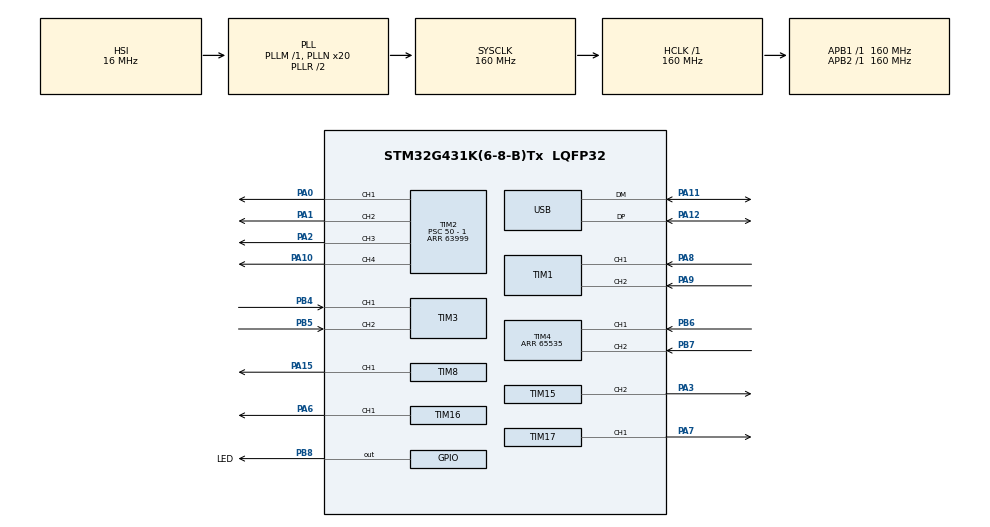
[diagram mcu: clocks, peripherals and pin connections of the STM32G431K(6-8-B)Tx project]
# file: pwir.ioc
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Mcu.Family=STM32G4
Mcu.Name=STM32G431K(6-8-B)Tx
Mcu.Package=LQFP32
NVIC.PriorityGroup=NVIC_PRIORITYGROUP_4
NVIC.TIM6_DAC_IRQn=true\:0\:0\:false\:false\:true\:true\:true
NVIC.USB_LP_IRQn=true\:0\:0\:false\:false\:true\:false\:true
PA0.Signal=S_TIM2_CH1
PA1.Signal=S_TIM2_CH2
PA10.Signal=S_TIM2_CH4
PA11.Mode=Device
PA11.Signal=USB_DM
PA12.Mode=Device
PA12.Signal=USB_DP
PA13.Mode=Serial_Wire
PA13.Signal=SYS_JTMS-SWDIO
PA14.Mode=Serial_Wire
PA14.Signal=SYS_JTCK-SWCLK
PA15.Signal=S_TIM8_CH1
PA2.Signal=S_TIM2_CH3
PA3.Signal=S_TIM15_CH2
PA6.Signal=S_TIM16_CH1
PA7.Signal=S_TIM17_CH1
PA8.Signal=S_TIM1_CH1
PA9.Signal=S_TIM1_CH2
PB4.Signal=S_TIM3_CH1
PB5.Signal=S_TIM3_CH2
PB6.Signal=S_TIM4_CH1
PB7.Signal=S_TIM4_CH2
PB8-BOOT0.GPIO_Label=LED
PB8-BOOT0.Signal=GPIO_Output
ProjectManager.HeapSize=0x200
ProjectManager.StackSize=0x400
ProjectManager.TargetToolchain=STM32CubeIDE
RCC.ADC12Freq_Value=160000000
RCC.AHBFreq_Value=160000000
RCC.APB1Freq_Value=160000000
RCC.APB1TimFreq_Value=160000000
RCC.APB2Freq_Value=160000000
RCC.APB2TimFreq_Value=160000000
RCC.CK48CLockSelection=RCC_USBCLKSOURCE_HSI48
RCC.CortexFreq_Value=160000000
RCC.EXTERNAL_CLOCK_VALUE=12288000
RCC.HCLKFreq_Value=160000000
RCC.HSE_VALUE=8000000
RCC.HSI48_VALUE=48000000
RCC.HSI_VALUE=16000000
RCC.LSE_VALUE=32768
RCC.PLLN=20
RCC.PLLQ=RCC_PLLQ_DIV4
RCC.SYSCLKFreq_VALUE=160000000
RCC.SYSCLKSource=RCC_SYSCLKSOURCE_PLLCLK
RCC.USBFreq_Value=48000000
RCC.VCOOutputFreq_Value=320000000
SH.S_TIM15_CH2.0=TIM15_CH2,PWM Generation2 CH2
SH.S_TIM16_CH1.0=TIM16_CH1,PWM Generation1 CH1
SH.S_TIM17_CH1.0=TIM17_CH1,PWM Generation1 CH1
SH.S_TIM1_CH1.0=TIM1_CH1,Encoder_Interface
SH.S_TIM1_CH2.0=TIM1_CH2,Encoder_Interface
SH.S_TIM2_CH1.0=TIM2_CH1,PWM Generation1 CH1
SH.S_TIM2_CH2.0=TIM2_CH2,PWM Generation2 CH2
SH.S_TIM2_CH3.0=TIM2_CH3,PWM Generation3 CH3
SH.S_TIM2_CH4.0=TIM2_CH4,PWM Generation4 CH4
SH.S_TIM3_CH1.0=TIM3_CH1,Encoder_Interface
SH.S_TIM3_CH2.0=TIM3_CH2,Encoder_Interface
SH.S_TIM4_CH1.0=TIM4_CH1,Encoder_Interface
SH.S_TIM4_CH2.0=TIM4_CH2,Encoder_Interface
SH.S_TIM8_CH1.0=TIM8_CH1,PWM Generation1 CH1
TIM15.Channel-PWM\ Generation2\ CH2=TIM_CHANNEL_2
TIM15.PeriodNoDither=63999
TIM15.Prescaler=50 - 1
TIM16.Channel=TIM_CHANNEL_1
TIM16.PeriodNoDither=63999
TIM16.Prescaler=50 - 1
TIM17.Channel=TIM_CHANNEL_1
TIM17.PeriodNoDither=63999
TIM17.Prescaler=50 - 1
TIM2.Channel-PWM\ Generation1\ CH1=TIM_CHANNEL_1
TIM2.Channel-PWM\ Generation2\ CH2=TIM_CHANNEL_2
TIM2.Channel-PWM\ Generation3\ CH3=TIM_CHANNEL_3
TIM2.Channel-PWM\ Generation4\ CH4=TIM_CHANNEL_4
TIM2.PeriodNoDither=63999
TIM2.Prescaler=50 - 1
TIM4.PeriodNoDither=65535
TIM6.PeriodNoDither=64000 -1
TIM6.Prescaler=25 - 1
TIM8.Channel-PWM\ Generation1\ CH1=TIM_CHANNEL_1
TIM8.PeriodNoDither=63999
TIM8.Prescaler=50 - 1
USB.Sof_enable=DISABLE
USB_DEVICE.CLASS_NAME_FS=CDC
USB_DEVICE.VirtualMode=Cdc
USB_DEVICE.VirtualModeFS=Cdc_FS
VP_SYS_VS_DBSignals.Mode=DisableDeadBatterySignals
VP_TIM16_VS_ClockSourceINT.Mode=Enable_Timer
VP_TIM17_VS_ClockSourceINT.Mode=Enable_Timer
VP_TIM6_VS_ClockSourceINT.Mode=Enable_Timer
VP_USB_DEVICE_VS_USB_DEVICE_CDC_FS.Mode=CDC_FS
board=custom

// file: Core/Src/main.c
/* USER CODE BEGIN Header */
/**
  ******************************************************************************
  * @file           : main.c
  * @brief          : Main program body
  ******************************************************************************
  * @attention
  *
  * <h2><center>&copy; Copyright (c) 2020 STMicroelectronics.
  * All rights reserved.</center></h2>
  *
  * This software component is licensed by ST under BSD 3-Clause license,
  * the "License"; You may not use this file except in compliance with the
  * License. You may obtain a copy of the License at:
  *                        opensource.org/licenses/BSD-3-Clause
  *
  ******************************************************************************
  */
/* USER CODE END Header */
#include "main.h"
#include "usb_device.h"

TIM_HandleTypeDef htim1;
TIM_HandleTypeDef htim2;
TIM_HandleTypeDef htim3;
TIM_HandleTypeDef htim4;
TIM_HandleTypeDef htim6;
TIM_HandleTypeDef htim8;
TIM_HandleTypeDef htim15;
TIM_HandleTypeDef htim16;
TIM_HandleTypeDef htim17;

void SystemClock_Config(void);
static void MX_GPIO_Init(void);
static void MX_TIM1_Init(void);
static void MX_TIM2_Init(void);
static void MX_TIM3_Init(void);
static void MX_TIM4_Init(void);
static void MX_TIM8_Init(void);
static void MX_TIM16_Init(void);
static void MX_TIM17_Init(void);
static void MX_TIM15_Init(void);
static void MX_TIM6_Init(void);

/* USER CODE BEGIN 0 */
typedef struct Motor {
	int16_t setpoint; // short ; signed ; -32,768 .. 32,767
	int32_t speed; // int ; signed ; -2,147,483,648 .. 2,147,483,647
	int16_t pGain;
	int16_t iGain;
	int16_t dGain;
	int16_t position;
	int16_t positionPrev;
	int16_t positionChange;
	int16_t error; // PID error
	int32_t sumOfErrors; // PID sum of errors
} Motor;

Motor motor1 = {
	.setpoint = 0,
	.speed = 0,
	.pGain = 1000,
	.iGain = 10,
	.dGain = 10,
	.position = 0,
	.positionPrev = 0,
	.positionChange = 0,
	.error = 0,
	.sumOfErrors = 0
};

Motor motor2 = {
	.setpoint = 0,
	.speed = 0,
	.pGain = 1000,
	.iGain = 10,
	.dGain = 10,
	.position = 0,
	.positionPrev = 0,
	.positionChange = 0,
	.error = 0,
	.sumOfErrors = 0
};

Motor motor3 = {
	.setpoint = 0,
	.speed = 0,
	.pGain = 1000,
	.iGain = 10,
	.dGain = 10,
	.position = 0,
	.positionPrev = 0,
	.positionChange = 0,
	.error = 0,
	.sumOfErrors = 0
};

typedef struct Command { // (1) Define struct for received data.
  int16_t speed1;
  int16_t speed2;
  int16_t speed3;
  uint16_t throwerSpeed;
  uint16_t throwerAngle;
  uint16_t delimiter; // (2) Delimiter is used as a separator between packets of data. Preferably something that will never appear in the data should be used.
} Command;

typedef struct Feedback { // (3) Define struct for sending data. This can be omitted if there is no need for data from mainboard.
  int32_t speed1;
  int32_t speed2;
  int32_t speed3;
  int16_t positionChange1;
  int16_t positionChange2;
  int16_t positionChange3;
  int16_t encoder1;
  int16_t encoder2;
  int16_t encoder3;
  int32_t sumOfErrors1;
  int32_t sumOfErrors2;
  int32_t sumOfErrors3;
  uint16_t delimiter;
} Feedback;

Command command = {
  .speed1 = 0,
  .speed2 = 0,
  .speed3 = 0,
  .throwerSpeed = 0,
  .throwerAngle = 0,
  .delimiter = 0
}; // (4) Instance of received data.

volatile uint8_t isCommandReceived = 0; // (5) Boolean (0/1) variable to signify that data has been received. Variable is marked volatile to prevent the compiler from removing it during optimisation.

void CDC_On_Receive(uint8_t* buffer, uint32_t* length) { // (6) Define the function that is called when data is received. It is usually preferable to keep interrupt handlers small and fast to avoid blocking other code from executing. Only data copying and setting isCommandReceived to 1 is done in the handler. Rest is handled in the main while loop.
  //HAL_GPIO_TogglePin(LED_GPIO_Port, LED_Pin);
  if (*length == sizeof(Command)) { // (7) Check if received data the has same length as Command struct.
    memcpy(&command, buffer, sizeof(Command)); // (8) Copy received data to command instance.

    if (command.delimiter == 0xAAAA) { // (9) Check the delimiter as a validation of received data.
      isCommandReceived = 1;
    }
  }
}
/* USER CODE END 0 */

int main(void)
{
  /* USER CODE BEGIN 1 */
  // (1) Define an instance of Feedback for sending data.
  Feedback feedback = {
    .speed1 = 0,
	.encoder1 = 0,
	.positionChange1 = 0,
	.speed2 = 0,
	.encoder2 = 0,
	.positionChange2 = 0,
	.speed3 = 0,
	.encoder3 = 0,
	.positionChange3 = 0,
	.delimiter = 0xAAAA
  };
  /* USER CODE END 1 */

  /* MCU Configuration--------------------------------------------------------*/

  /* Reset of all peripherals, Initializes the Flash interface and the Systick. */
  HAL_Init();

  /* Configure the system clock */
  SystemClock_Config();

  /* Initialize all configured peripherals */
  MX_GPIO_Init();
  MX_TIM1_Init();
  MX_TIM2_Init();
  MX_TIM3_Init();
  MX_TIM4_Init();
  MX_TIM8_Init();
  MX_TIM16_Init();
  MX_TIM17_Init();
  MX_USB_Device_Init();
  MX_TIM15_Init();
  MX_TIM6_Init();
  /* USER CODE BEGIN 2 */
  HAL_TIM_Encoder_Start(&htim1, TIM_CHANNEL_1 | TIM_CHANNEL_2); // Encoder 1
  HAL_TIM_Encoder_Start(&htim3, TIM_CHANNEL_1 | TIM_CHANNEL_2); // Encoder 2
  HAL_TIM_Encoder_Start(&htim4, TIM_CHANNEL_1 | TIM_CHANNEL_2); // Encoder 3
  HAL_TIM_PWM_Start(&htim2, TIM_CHANNEL_1); // Motor PWM for draiver 1
  HAL_TIM_PWM_Start(&htim2, TIM_CHANNEL_2); // Motor PWM for draiver 1
  HAL_TIM_PWM_Start(&htim2, TIM_CHANNEL_3); // Motor PWM for draiver 2
  HAL_TIM_PWM_Start(&htim2, TIM_CHANNEL_4); // Motor PWM for draiver 2
  HAL_TIM_PWM_Start(&htim16, TIM_CHANNEL_1); // Motor PWM for draiver 3
  HAL_TIM_PWM_Start(&htim17, TIM_CHANNEL_1); // Motor PWM for draiver 3
  HAL_TIM_PWM_Start(&htim8, TIM_CHANNEL_1); // Thrower PWM
  HAL_TIM_PWM_Start(&htim15, TIM_CHANNEL_2); // Thrower Angle PWM
  HAL_TIM_Base_Start_IT(&htim6);
  /* USER CODE END 2 */

  /* Infinite loop */
  while (1)
  {

    /* USER CODE BEGIN 3 */
	  //HAL_Delay(1000);
	if (isCommandReceived) { // (2) Only return data when something has been received.
		isCommandReceived = 0;
		HAL_GPIO_TogglePin(LED_GPIO_Port, LED_Pin); // (3) Toggle LED to indicate that data has been received.

		motor1.setpoint = command.speed1;
		motor2.setpoint = command.speed2;
		motor3.setpoint = command.speed3;

		// (4) Update feedback with current motor speeds.
		feedback.speed1 = motor1.speed;
		feedback.speed2 = motor2.speed;
		feedback.speed3 = motor3.speed;
		feedback.positionChange1 = motor1.positionChange;
		feedback.positionChange2 = motor2.positionChange;
		feedback.positionChange3 = motor3.positionChange;
		feedback.encoder1 = (int16_t)TIM1->CNT;
		feedback.encoder2 = (int16_t)TIM3->CNT;
		feedback.encoder3 = (int16_t)TIM4->CNT;
		feedback.sumOfErrors1 = motor1.sumOfErrors;
		feedback.sumOfErrors2 = motor2.sumOfErrors;
		feedback.sumOfErrors3 = motor3.sumOfErrors;

		// Start thrower ESC at lower than 3200
		// Then set speed to 3200 ... 6400
		TIM8->CCR1 = command.throwerSpeed; // thrower

		// Thrower angle overflow check (2700 min 6900 max)
		if (command.throwerAngle > 6900) {
			TIM15->CCR2 = 6900;
		}
		else if (command.throwerAngle < 2700) {
			TIM15->CCR2 = 2700;
		}
		else {
			TIM15->CCR2 = command.throwerAngle;
		}

		CDC_Transmit_FS(&feedback, sizeof(feedback)); // (5) Send data over USB.
		//HAL_Delay(1000);
	}
  }
  /* USER CODE END 3 */
}

void SystemClock_Config(void)
{
  RCC_OscInitTypeDef RCC_OscInitStruct = {0};
  RCC_ClkInitTypeDef RCC_ClkInitStruct = {0};
  RCC_PeriphCLKInitTypeDef PeriphClkInit = {0};

  /** Configure the main internal regulator output voltage
  */
  HAL_PWREx_ControlVoltageScaling(PWR_REGULATOR_VOLTAGE_SCALE1_BOOST);
  /** Initializes the RCC Oscillators according to the specified parameters
  * in the RCC_OscInitTypeDef structure.
  */
  RCC_OscInitStruct.OscillatorType = RCC_OSCILLATORTYPE_HSI|RCC_OSCILLATORTYPE_HSI48;
  RCC_OscInitStruct.HSIState = RCC_HSI_ON;
  RCC_OscInitStruct.HSICalibrationValue = RCC_HSICALIBRATION_DEFAULT;
  RCC_OscInitStruct.HSI48State = RCC_HSI48_ON;
  RCC_OscInitStruct.PLL.PLLState = RCC_PLL_ON;
  RCC_OscInitStruct.PLL.PLLSource = RCC_PLLSOURCE_HSI;
  RCC_OscInitStruct.PLL.PLLM = RCC_PLLM_DIV1;
  RCC_OscInitStruct.PLL.PLLN = 20;
  RCC_OscInitStruct.PLL.PLLP = RCC_PLLP_DIV2;
  RCC_OscInitStruct.PLL.PLLQ = RCC_PLLQ_DIV4;
  RCC_OscInitStruct.PLL.PLLR = RCC_PLLR_DIV2;
  if (HAL_RCC_OscConfig(&RCC_OscInitStruct) != HAL_OK)
  {
    Error_Handler();
  }
  /** Initializes the CPU, AHB and APB buses clocks
  */
  RCC_ClkInitStruct.ClockType = RCC_CLOCKTYPE_HCLK|RCC_CLOCKTYPE_SYSCLK
                              |RCC_CLOCKTYPE_PCLK1|RCC_CLOCKTYPE_PCLK2;
  RCC_ClkInitStruct.SYSCLKSource = RCC_SYSCLKSOURCE_PLLCLK;
  RCC_ClkInitStruct.AHBCLKDivider = RCC_SYSCLK_DIV1;
  RCC_ClkInitStruct.APB1CLKDivider = RCC_HCLK_DIV1;
  RCC_ClkInitStruct.APB2CLKDivider = RCC_HCLK_DIV1;

  if (HAL_RCC_ClockConfig(&RCC_ClkInitStruct, FLASH_LATENCY_4) != HAL_OK)
  {
    Error_Handler();
  }
  /** Initializes the peripherals clocks
  */
  PeriphClkInit.PeriphClockSelection = RCC_PERIPHCLK_USB;
  PeriphClkInit.UsbClockSelection = RCC_USBCLKSOURCE_HSI48;
  if (HAL_RCCEx_PeriphCLKConfig(&PeriphClkInit) != HAL_OK)
  {
    Error_Handler();
  }
}

static void MX_TIM1_Init(void)
{

  TIM_Encoder_InitTypeDef sConfig = {0};
  TIM_MasterConfigTypeDef sMasterConfig = {0};
  TIM_BreakDeadTimeConfigTypeDef sBreakDeadTimeConfig = {0};

  htim1.Instance = TIM1;
  htim1.Init.Prescaler = 0;
  htim1.Init.CounterMode = TIM_COUNTERMODE_UP;
  htim1.Init.Period = 65535;
  htim1.Init.ClockDivision = TIM_CLOCKDIVISION_DIV1;
  htim1.Init.RepetitionCounter = 0;
  htim1.Init.AutoReloadPreload = TIM_AUTORELOAD_PRELOAD_DISABLE;
  sConfig.EncoderMode = TIM_ENCODERMODE_TI1;
  sConfig.IC1Polarity = TIM_ICPOLARITY_RISING;
  sConfig.IC1Selection = TIM_ICSELECTION_DIRECTTI;
  sConfig.IC1Prescaler = TIM_ICPSC_DIV1;
  sConfig.IC1Filter = 0;
  sConfig.IC2Polarity = TIM_ICPOLARITY_RISING;
  sConfig.IC2Selection = TIM_ICSELECTION_DIRECTTI;
  sConfig.IC2Prescaler = TIM_ICPSC_DIV1;
  sConfig.IC2Filter = 0;
  if (HAL_TIM_Encoder_Init(&htim1, &sConfig) != HAL_OK)
  {
    Error_Handler();
  }
  sMasterConfig.MasterOutputTrigger = TIM_TRGO_RESET;
  sMasterConfig.MasterOutputTrigger2 = TIM_TRGO2_RESET;
  sMasterConfig.MasterSlaveMode = TIM_MASTERSLAVEMODE_DISABLE;
  if (HAL_TIMEx_MasterConfigSynchronization(&htim1, &sMasterConfig) != HAL_OK)
  {
    Error_Handler();
  }
  sBreakDeadTimeConfig.BreakAFMode = TIM_BREAK_AFMODE_INPUT;
  sBreakDeadTimeConfig.Break2AFMode = TIM_BREAK_AFMODE_INPUT;
  if (HAL_TIMEx_ConfigBreakDeadTime(&htim1, &sBreakDeadTimeConfig) != HAL_OK)
  {
    Error_Handler();
  }

}

static void MX_TIM2_Init(void)
{

  TIM_MasterConfigTypeDef sMasterConfig = {0};
  TIM_OC_InitTypeDef sConfigOC = {0};

  htim2.Instance = TIM2;
  htim2.Init.Prescaler = 50 - 1;
  htim2.Init.CounterMode = TIM_COUNTERMODE_UP;
  htim2.Init.Period = 63999;
  htim2.Init.ClockDivision = TIM_CLOCKDIVISION_DIV1;
  htim2.Init.AutoReloadPreload = TIM_AUTORELOAD_PRELOAD_DISABLE;
  if (HAL_TIM_PWM_Init(&htim2) != HAL_OK)
  {
    Error_Handler();
  }
  sMasterConfig.MasterOutputTrigger = TIM_TRGO_RESET;
  sMasterConfig.MasterSlaveMode = TIM_MASTERSLAVEMODE_DISABLE;
  if (HAL_TIMEx_MasterConfigSynchronization(&htim2, &sMasterConfig) != HAL_OK)
  {
    Error_Handler();
  }
  sConfigOC.OCMode = TIM_OCMODE_PWM1;
  sConfigOC.Pulse = 0;
  sConfigOC.OCPolarity = TIM_OCPOLARITY_HIGH;
  sConfigOC.OCFastMode = TIM_OCFAST_DISABLE;
  if (HAL_TIM_PWM_ConfigChannel(&htim2, &sConfigOC, TIM_CHANNEL_1) != HAL_OK)
  {
    Error_Handler();
  }
  sConfigOC.Pulse = 0;
  if (HAL_TIM_PWM_ConfigChannel(&htim2, &sConfigOC, TIM_CHANNEL_2) != HAL_OK)
  {
    Error_Handler();
  }
  sConfigOC.Pulse = 0;
  if (HAL_TIM_PWM_ConfigChannel(&htim2, &sConfigOC, TIM_CHANNEL_3) != HAL_OK)
  {
    Error_Handler();
  }
  sConfigOC.Pulse = 0;
  if (HAL_TIM_PWM_ConfigChannel(&htim2, &sConfigOC, TIM_CHANNEL_4) != HAL_OK)
  {
    Error_Handler();
  }
  HAL_TIM_MspPostInit(&htim2);

}

static void MX_TIM3_Init(void)
{

  TIM_Encoder_InitTypeDef sConfig = {0};
  TIM_MasterConfigTypeDef sMasterConfig = {0};

  htim3.Instance = TIM3;
  htim3.Init.Prescaler = 0;
  htim3.Init.CounterMode = TIM_COUNTERMODE_UP;
  htim3.Init.Period = 65535;
  htim3.Init.ClockDivision = TIM_CLOCKDIVISION_DIV1;
  htim3.Init.AutoReloadPreload = TIM_AUTORELOAD_PRELOAD_DISABLE;
  sConfig.EncoderMode = TIM_ENCODERMODE_TI1;
  sConfig.IC1Polarity = TIM_ICPOLARITY_RISING;
  sConfig.IC1Selection = TIM_ICSELECTION_DIRECTTI;
  sConfig.IC1Prescaler = TIM_ICPSC_DIV1;
  sConfig.IC1Filter = 0;
  sConfig.IC2Polarity = TIM_ICPOLARITY_RISING;
  sConfig.IC2Selection = TIM_ICSELECTION_DIRECTTI;
  sConfig.IC2Prescaler = TIM_ICPSC_DIV1;
  sConfig.IC2Filter = 0;
  if (HAL_TIM_Encoder_Init(&htim3, &sConfig) != HAL_OK)
  {
    Error_Handler();
  }
  sMasterConfig.MasterOutputTrigger = TIM_TRGO_RESET;
  sMasterConfig.MasterSlaveMode = TIM_MASTERSLAVEMODE_DISABLE;
  if (HAL_TIMEx_MasterConfigSynchronization(&htim3, &sMasterConfig) != HAL_OK)
  {
    Error_Handler();
  }

}

static void MX_TIM4_Init(void)
{

  TIM_Encoder_InitTypeDef sConfig = {0};
  TIM_MasterConfigTypeDef sMasterConfig = {0};

  htim4.Instance = TIM4;
  htim4.Init.Prescaler = 0;
  htim4.Init.CounterMode = TIM_COUNTERMODE_UP;
  htim4.Init.Period = 65535;
  htim4.Init.ClockDivision = TIM_CLOCKDIVISION_DIV1;
  htim4.Init.AutoReloadPreload = TIM_AUTORELOAD_PRELOAD_DISABLE;
  sConfig.EncoderMode = TIM_ENCODERMODE_TI1;
  sConfig.IC1Polarity = TIM_ICPOLARITY_RISING;
  sConfig.IC1Selection = TIM_ICSELECTION_DIRECTTI;
  sConfig.IC1Prescaler = TIM_ICPSC_DIV1;
  sConfig.IC1Filter = 0;
  sConfig.IC2Polarity = TIM_ICPOLARITY_RISING;
  sConfig.IC2Selection = TIM_ICSELECTION_DIRECTTI;
  sConfig.IC2Prescaler = TIM_ICPSC_DIV1;
  sConfig.IC2Filter = 0;
  if (HAL_TIM_Encoder_Init(&htim4, &sConfig) != HAL_OK)
  {
    Error_Handler();
  }
  sMasterConfig.MasterOutputTrigger = TIM_TRGO_RESET;
  sMasterConfig.MasterSlaveMode = TIM_MASTERSLAVEMODE_DISABLE;
  if (HAL_TIMEx_MasterConfigSynchronization(&htim4, &sMasterConfig) != HAL_OK)
  {
    Error_Handler();
  }

}

static void MX_TIM6_Init(void)
{

  TIM_MasterConfigTypeDef sMasterConfig = {0};

  htim6.Instance = TIM6;
  htim6.Init.Prescaler = 25 - 1;
  htim6.Init.CounterMode = TIM_COUNTERMODE_UP;
  htim6.Init.Period = 63999;
  htim6.Init.AutoReloadPreload = TIM_AUTORELOAD_PRELOAD_DISABLE;
  if (HAL_TIM_Base_Init(&htim6) != HAL_OK)
  {
    Error_Handler();
  }
  sMasterConfig.MasterOutputTrigger = TIM_TRGO_RESET;
  sMasterConfig.MasterSlaveMode = TIM_MASTERSLAVEMODE_DISABLE;
  if (HAL_TIMEx_MasterConfigSynchronization(&htim6, &sMasterConfig) != HAL_OK)
  {
    Error_Handler();
  }

}

static void MX_TIM8_Init(void)
{

  TIM_MasterConfigTypeDef sMasterConfig = {0};
  TIM_OC_InitTypeDef sConfigOC = {0};
  TIM_BreakDeadTimeConfigTypeDef sBreakDeadTimeConfig = {0};

  htim8.Instance = TIM8;
  htim8.Init.Prescaler = 50 - 1;
  htim8.Init.CounterMode = TIM_COUNTERMODE_UP;
  htim8.Init.Period = 63999;
  htim8.Init.ClockDivision = TIM_CLOCKDIVISION_DIV1;
  htim8.Init.RepetitionCounter = 0;
  htim8.Init.AutoReloadPreload = TIM_AUTORELOAD_PRELOAD_DISABLE;
  if (HAL_TIM_PWM_Init(&htim8) != HAL_OK)
  {
    Error_Handler();
  }
  sMasterConfig.MasterOutputTrigger = TIM_TRGO_RESET;
  sMasterConfig.MasterOutputTrigger2 = TIM_TRGO2_RESET;
  sMasterConfig.MasterSlaveMode = TIM_MASTERSLAVEMODE_DISABLE;
  if (HAL_TIMEx_MasterConfigSynchronization(&htim8, &sMasterConfig) != HAL_OK)
  {
    Error_Handler();
  }
  sConfigOC.OCMode = TIM_OCMODE_PWM1;
  sConfigOC.Pulse = 0;
  sConfigOC.OCPolarity = TIM_OCPOLARITY_HIGH;
  sConfigOC.OCNPolarity = TIM_OCNPOLARITY_HIGH;
  sConfigOC.OCFastMode = TIM_OCFAST_DISABLE;
  sConfigOC.OCIdleState = TIM_OCIDLESTATE_RESET;
  sConfigOC.OCNIdleState = TIM_OCNIDLESTATE_RESET;
  if (HAL_TIM_PWM_ConfigChannel(&htim8, &sConfigOC, TIM_CHANNEL_1) != HAL_OK)
  {
    Error_Handler();
  }
  sBreakDeadTimeConfig.OffStateRunMode = TIM_OSSR_DISABLE;
  sBreakDeadTimeConfig.OffStateIDLEMode = TIM_OSSI_DISABLE;
  sBreakDeadTimeConfig.LockLevel = TIM_LOCKLEVEL_OFF;
  sBreakDeadTimeConfig.DeadTime = 0;
  sBreakDeadTimeConfig.BreakState = TIM_BREAK_DISABLE;
  sBreakDeadTimeConfig.BreakPolarity = TIM_BREAKPOLARITY_HIGH;
  sBreakDeadTimeConfig.BreakFilter = 0;
  sBreakDeadTimeConfig.BreakAFMode = TIM_BREAK_AFMODE_INPUT;
  sBreakDeadTimeConfig.Break2State = TIM_BREAK2_DISABLE;
  sBreakDeadTimeConfig.Break2Polarity = TIM_BREAK2POLARITY_HIGH;
  sBreakDeadTimeConfig.Break2Filter = 0;
  sBreakDeadTimeConfig.Break2AFMode = TIM_BREAK_AFMODE_INPUT;
  sBreakDeadTimeConfig.AutomaticOutput = TIM_AUTOMATICOUTPUT_DISABLE;
  if (HAL_TIMEx_ConfigBreakDeadTime(&htim8, &sBreakDeadTimeConfig) != HAL_OK)
  {
    Error_Handler();
  }
  HAL_TIM_MspPostInit(&htim8);

}

static void MX_TIM15_Init(void)
{

  TIM_MasterConfigTypeDef sMasterConfig = {0};
  TIM_OC_InitTypeDef sConfigOC = {0};
  TIM_BreakDeadTimeConfigTypeDef sBreakDeadTimeConfig = {0};

  htim15.Instance = TIM15;
  htim15.Init.Prescaler = 50 - 1;
  htim15.Init.CounterMode = TIM_COUNTERMODE_UP;
  htim15.Init.Period = 63999;
  htim15.Init.ClockDivision = TIM_CLOCKDIVISION_DIV1;
  htim15.Init.RepetitionCounter = 0;
  htim15.Init.AutoReloadPreload = TIM_AUTORELOAD_PRELOAD_DISABLE;
  if (HAL_TIM_PWM_Init(&htim15) != HAL_OK)
  {
    Error_Handler();
  }
  sMasterConfig.MasterOutputTrigger = TIM_TRGO_RESET;
  sMasterConfig.MasterSlaveMode = TIM_MASTERSLAVEMODE_DISABLE;
  if (HAL_TIMEx_MasterConfigSynchronization(&htim15, &sMasterConfig) != HAL_OK)
  {
    Error_Handler();
  }
  sConfigOC.OCMode = TIM_OCMODE_PWM1;
  sConfigOC.Pulse = 0;
  sConfigOC.OCPolarity = TIM_OCPOLARITY_HIGH;
  sConfigOC.OCNPolarity = TIM_OCNPOLARITY_HIGH;
  sConfigOC.OCFastMode = TIM_OCFAST_DISABLE;
  sConfigOC.OCIdleState = TIM_OCIDLESTATE_RESET;
  sConfigOC.OCNIdleState = TIM_OCNIDLESTATE_RESET;
  if (HAL_TIM_PWM_ConfigChannel(&htim15, &sConfigOC, TIM_CHANNEL_2) != HAL_OK)
  {
    Error_Handler();
  }
  sBreakDeadTimeConfig.OffStateRunMode = TIM_OSSR_DISABLE;
  sBreakDeadTimeConfig.OffStateIDLEMode = TIM_OSSI_DISABLE;
  sBreakDeadTimeConfig.LockLevel = TIM_LOCKLEVEL_OFF;
  sBreakDeadTimeConfig.DeadTime = 0;
  sBreakDeadTimeConfig.BreakState = TIM_BREAK_DISABLE;
  sBreakDeadTimeConfig.BreakPolarity = TIM_BREAKPOLARITY_HIGH;
  sBreakDeadTimeConfig.BreakFilter = 0;
  sBreakDeadTimeConfig.AutomaticOutput = TIM_AUTOMATICOUTPUT_DISABLE;
  if (HAL_TIMEx_ConfigBreakDeadTime(&htim15, &sBreakDeadTimeConfig) != HAL_OK)
  {
    Error_Handler();
  }
  HAL_TIM_MspPostInit(&htim15);

}

static void MX_TIM16_Init(void)
{

  TIM_OC_InitTypeDef sConfigOC = {0};
  TIM_BreakDeadTimeConfigTypeDef sBreakDeadTimeConfig = {0};

  htim16.Instance = TIM16;
  htim16.Init.Prescaler = 50 - 1;
  htim16.Init.CounterMode = TIM_COUNTERMODE_UP;
  htim16.Init.Period = 63999;
  htim16.Init.ClockDivision = TIM_CLOCKDIVISION_DIV1;
  htim16.Init.RepetitionCounter = 0;
  htim16.Init.AutoReloadPreload = TIM_AUTORELOAD_PRELOAD_DISABLE;
  if (HAL_TIM_Base_Init(&htim16) != HAL_OK)
  {
    Error_Handler();
  }
  if (HAL_TIM_PWM_Init(&htim16) != HAL_OK)
  {
    Error_Handler();
  }
  sConfigOC.OCMode = TIM_OCMODE_PWM1;
  sConfigOC.Pulse = 0;
  sConfigOC.OCPolarity = TIM_OCPOLARITY_HIGH;
  sConfigOC.OCNPolarity = TIM_OCNPOLARITY_HIGH;
  sConfigOC.OCFastMode = TIM_OCFAST_DISABLE;
  sConfigOC.OCIdleState = TIM_OCIDLESTATE_RESET;
  sConfigOC.OCNIdleState = TIM_OCNIDLESTATE_RESET;
  if (HAL_TIM_PWM_ConfigChannel(&htim16, &sConfigOC, TIM_CHANNEL_1) != HAL_OK)
  {
    Error_Handler();
  }
  sBreakDeadTimeConfig.OffStateRunMode = TIM_OSSR_DISABLE;
  sBreakDeadTimeConfig.OffStateIDLEMode = TIM_OSSI_DISABLE;
  sBreakDeadTimeConfig.LockLevel = TIM_LOCKLEVEL_OFF;
  sBreakDeadTimeConfig.DeadTime = 0;
  sBreakDeadTimeConfig.BreakState = TIM_BREAK_DISABLE;
  sBreakDeadTimeConfig.BreakPolarity = TIM_BREAKPOLARITY_HIGH;
  sBreakDeadTimeConfig.BreakFilter = 0;
  sBreakDeadTimeConfig.AutomaticOutput = TIM_AUTOMATICOUTPUT_DISABLE;
  if (HAL_TIMEx_ConfigBreakDeadTime(&htim16, &sBreakDeadTimeConfig) != HAL_OK)
  {
    Error_Handler();
  }
  HAL_TIM_MspPostInit(&htim16);

}

static void MX_TIM17_Init(void)
{

  TIM_OC_InitTypeDef sConfigOC = {0};
  TIM_BreakDeadTimeConfigTypeDef sBreakDeadTimeConfig = {0};

  htim17.Instance = TIM17;
  htim17.Init.Prescaler = 50 - 1;
  htim17.Init.CounterMode = TIM_COUNTERMODE_UP;
  htim17.Init.Period = 63999;
  htim17.Init.ClockDivision = TIM_CLOCKDIVISION_DIV1;
  htim17.Init.RepetitionCounter = 0;
  htim17.Init.AutoReloadPreload = TIM_AUTORELOAD_PRELOAD_DISABLE;
  if (HAL_TIM_Base_Init(&htim17) != HAL_OK)
  {
    Error_Handler();
  }
  if (HAL_TIM_PWM_Init(&htim17) != HAL_OK)
  {
    Error_Handler();
  }
  sConfigOC.OCMode = TIM_OCMODE_PWM1;
  sConfigOC.Pulse = 0;
  sConfigOC.OCPolarity = TIM_OCPOLARITY_HIGH;
  sConfigOC.OCNPolarity = TIM_OCNPOLARITY_HIGH;
  sConfigOC.OCFastMode = TIM_OCFAST_DISABLE;
  sConfigOC.OCIdleState = TIM_OCIDLESTATE_RESET;
  sConfigOC.OCNIdleState = TIM_OCNIDLESTATE_RESET;
  if (HAL_TIM_PWM_ConfigChannel(&htim17, &sConfigOC, TIM_CHANNEL_1) != HAL_OK)
  {
    Error_Handler();
  }
  sBreakDeadTimeConfig.OffStateRunMode = TIM_OSSR_DISABLE;
  sBreakDeadTimeConfig.OffStateIDLEMode = TIM_OSSI_DISABLE;
  sBreakDeadTimeConfig.LockLevel = TIM_LOCKLEVEL_OFF;
  sBreakDeadTimeConfig.DeadTime = 0;
  sBreakDeadTimeConfig.BreakState = TIM_BREAK_DISABLE;
  sBreakDeadTimeConfig.BreakPolarity = TIM_BREAKPOLARITY_HIGH;
  sBreakDeadTimeConfig.BreakFilter = 0;
  sBreakDeadTimeConfig.AutomaticOutput = TIM_AUTOMATICOUTPUT_DISABLE;
  if (HAL_TIMEx_ConfigBreakDeadTime(&htim17, &sBreakDeadTimeConfig) != HAL_OK)
  {
    Error_Handler();
  }
  HAL_TIM_MspPostInit(&htim17);

}

static void MX_GPIO_Init(void)
{
  GPIO_InitTypeDef GPIO_InitStruct = {0};

  /* GPIO Ports Clock Enable */
  __HAL_RCC_GPIOA_CLK_ENABLE();
  __HAL_RCC_GPIOB_CLK_ENABLE();

  /*Configure GPIO pin Output Level */
  HAL_GPIO_WritePin(LED_GPIO_Port, LED_Pin, GPIO_PIN_RESET);

  /*Configure GPIO pin : LED_Pin */
  GPIO_InitStruct.Pin = LED_Pin;
  GPIO_InitStruct.Mode = GPIO_MODE_OUTPUT_PP;
  GPIO_InitStruct.Pull = GPIO_NOPULL;
  GPIO_InitStruct.Speed = GPIO_SPEED_FREQ_LOW;
  HAL_GPIO_Init(LED_GPIO_Port, &GPIO_InitStruct);

}

/* USER CODE BEGIN 4 */

int32_t PID(Motor* motor, int16_t position) {
	motor->position = position; // Update motor position from encoder output
	motor->positionChange = ( position - motor->positionPrev );
	motor->error = ( motor->setpoint - motor->positionChange ); // Update current PID error
	motor->sumOfErrors += motor->error; // Add current PID error to PID sum of errors
	// PID sum of errors overflow check
	if (motor->sumOfErrors > (65535 / motor->iGain)) {
		motor->sumOfErrors = (65535 / motor->iGain);
	}
	else if (motor->sumOfErrors < -(65535 / motor->iGain)) {
		motor->sumOfErrors = -(65535 / motor->iGain);
	}
	motor->positionPrev = position;
	int32_t p = motor->pGain * motor->error;
	int32_t i = motor->iGain * motor->sumOfErrors;
	int32_t d = motor->dGain * motor->positionChange;
	if (motor->setpoint == 0) { // Speed should be zero, reset all PID calculations
		motor->error = 0;
		motor->sumOfErrors = 0;
		p = 0;
		i = 0;
		d = 0;
	}
	return (p + i + d); // Return PID controller output (speed)
}

void HAL_TIM_PeriodElapsedCallback(TIM_HandleTypeDef *htim) {
	// Motor control calculations can be called from here

	// Second motor <=> J6 encoder socket <=> SECOND ENCODER
	// Third motor <=> J7 encoder socket <=> THIRD ENCODER
	// First motor <=> J3 encoder socket <=> FIRST ENCODER

	// Calculate PID and save PID controller output to motor speed
	motor1.speed = PID(&motor1, (int16_t)TIM1->CNT);
	motor2.speed = PID(&motor2, (int16_t)TIM3->CNT);
	motor3.speed = PID(&motor3, (int16_t)TIM4->CNT);

	// Overflow check
	if (motor1.speed > 65535) {
		motor1.speed = 65535;
	}
	else if (motor1.speed < -65535) {
		motor1.speed = -65535;
	}

	if (motor2.speed > 65535) {
		motor2.speed = 65535;
	}
	else if (motor2.speed < -65535) {
		motor2.speed = -65535;
	}

	if (motor3.speed > 65535) {
		motor3.speed = 65535;
	}
	else if (motor3.speed < -65535) {
		motor3.speed = -65535;
	}

	// Change PWM duty cycle by motor speed
	if (motor1.speed > 0) {
		TIM2->CCR1 = motor1.speed;
		TIM2->CCR2 = 0;
	}
	else {
		TIM2->CCR1 = 0;
		TIM2->CCR2 = -motor1.speed;
	}

	if (motor2.speed > 0) {
		TIM2->CCR3 = motor2.speed;
		TIM2->CCR4 = 0;
	}
	else {
		TIM2->CCR3 = 0;
		TIM2->CCR4 = -motor2.speed;
	}

	if (motor3.speed > 0) {
		TIM16->CCR1 = motor3.speed;
		TIM17->CCR1 = 0;
	}
	else {
		TIM16->CCR1 = 0;
		TIM17->CCR1 = -motor3.speed;
	}
}

/* USER CODE END 4 */

void Error_Handler(void)
{
}

/************************ (C) COPYRIGHT STMicroelectronics *****END OF FILE****/
